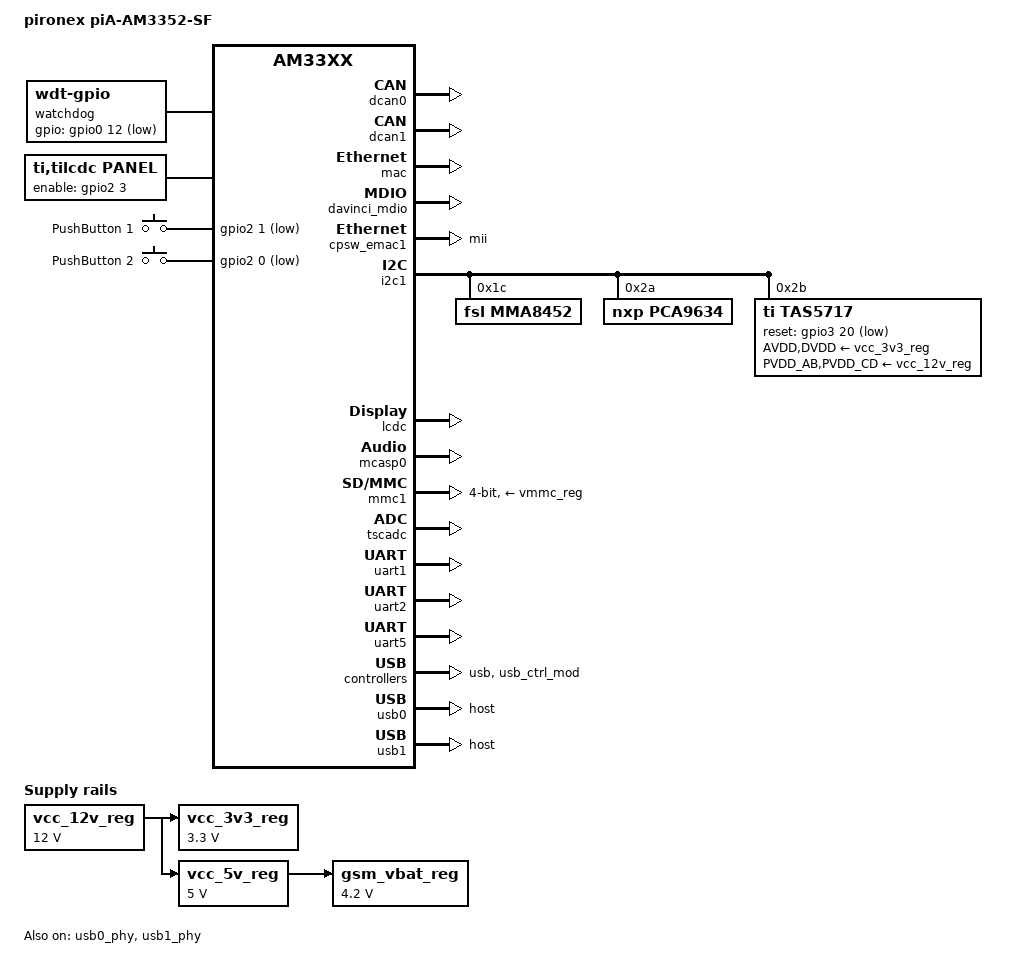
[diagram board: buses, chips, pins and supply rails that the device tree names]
/*
 * Copyright (C) 2015 pironex GmbH (http://www.pironex.de)
 *
 * This program is free software; you can redistribute it and/or modify
 * it under the terms of the GNU General Public License version 2 as
 * published by the Free Software Foundation.
 */

#include "am335x-pia-pm.dtsi"
#include <dt-bindings/interrupt-controller/irq.h>

/ {
	model = "pironex piA-AM3352-SF";
	compatible = "pironex,am335x-pia-sf", "pironex,am335x-pia-pm", "ti,am33xx";

	/* cpus: defined in PM */
	/* memory: defined in PM, TODO different memory configurations */

	vcc_12v_reg: fixedregulator@1 {
		compatible = "regulator-fixed";
		regulator-name = "vcc_12v_reg";
		regulator-min-microvolt = <12000000>;
		regulator-max-microvolt = <12000000>;
		regulator-max-microamp = <2100000>;
		regulator-boot-on;
		regulator-always-on;
	};

	vcc_3v3_reg: fixedregulator@2 {
		compatible = "regulator-fixed";
		regulator-name = "vcc_3v3_reg";
		regulator-min-microvolt = <3300000>;
		regulator-max-microvolt = <3300000>;
		regulator-max-microamp = <2000000>;
		regulator-boot-on;
		regulator-always-on;
		enable-active-high;
		/*gpio = <&gpio2 23 GPIO_ACTIVE_HIGH>; *//* LDO_EN */
		vin-supply = <&vcc_12v_reg>;
	};

	vcc_5v_reg: fixedregulator@3 {
		compatible = "regulator-fixed";
		regulator-name = "vcc_5v_reg";
		regulator-min-microvolt = <5000000>;
		regulator-max-microvolt = <5000000>;
		regulator-max-microamp = <4000000>;
		regulator-boot-on;
		regulator-always-on;
		enable-active-high;
		/*gpio = <&gpio2 23 GPIO_ACTIVE_HIGH>; *//* LDO_EN */
		vin-supply = <&vcc_12v_reg>;
	};

	gsm_vbat_reg: fixedregulator@4 {
		compatible = "regulator-fixed";
		regulator-name = "gsm_vbat_reg";
		regulator-min-microvolt = <4200000>;
		regulator-max-microvolt = <4200000>;
		regulator-max-microamp = <3000000>;
		regulator-boot-on;
		regulator-always-on;
		enable-active-high;
		vin-supply = <&vcc_5v_reg>; /* turned on with vaux2, supplied by vcc_5v0 */
	};

	watchdog: watchdog {
		/* MAX6371 */
		compatible = "linux,wdt-gpio";
		gpios = <&gpio0 12 GPIO_ACTIVE_LOW>;
		hw_algo = "toggle";
		hw_margin_ms = <60000>;
	};

	panel {
		compatible = "ti,tilcdc,panel";
		pinctrl-names = "default", "sleep";
		/*pinctrl-names = "default";*/
		pinctrl-0 = <&lcd_pins_default>;
		pinctrl-1 = <&lcd_pins_sleep>;
		enable-gpios = <&gpio2 3 GPIO_ACTIVE_HIGH>;
		status = "okay";

		panel-info {
			ac-bias           = <255>;
			ac-bias-intrpt    = <0>;
			dma-burst-sz      = <16>;
			bpp               = <32>;
			fdd               = <0x80>;
			sync-edge         = <0>;
			sync-ctrl         = <1>;
			raster-order      = <0>;
			fifo-th           = <0>;
		};

		display-timings {
			native-mode = <&timing1>;
			timing0: 1280x800-30 {
				hactive         = <1280>;
				vactive         = <800>;
				hback-porch     = <50>; /* 39 */
				hfront-porch    = <50>; /* 39 */
				hsync-len       = <60>; /* 47 - total h 160 */
				vback-porch     = <10>; /* 29 */
				vfront-porch    = <10>; /* 13 */
				vsync-len       = <10>; /* 10 */
				clock-frequency = <31000000>;
				hsync-active    = <0>;
				vsync-active    = <0>;
			};
			timing1: 1280x800-60 {
				hactive         = <1280>;
				vactive         = <800>;
				hback-porch     = <50>; /* 39 */
				hfront-porch    = <50>; /* 39 */
				hsync-len       = <60>; /* 47 - total h 160 */
				vback-porch     = <10>; /* 29 */
				vfront-porch    = <10>; /* 13 */
				vsync-len       = <10>; /* 10 */
				clock-frequency = <72000000>;
				hsync-active    = <0>;
				vsync-active    = <0>;
			};
		};
	};

	/* Clock is provided by an external 24.576 MHz OSC connected
	 * to MCASP0_AHCLKX */
	clk_mcasp0_fixed: clk_mcasp0_fixed {
		#clock-cells = <0>;
		compatible = "fixed-clock";
		clock-frequency = <24576000>;
	};

	sound {
		compatible = "simple-audio-card";
		simple-audio-card,name = "PIA-SF";

		simple-audio-card,widgets =  "Speaker", "Speaker Out";
		simple-audio-card,routing =
			"Speaker Out",	"DACL", // OUT_A + OUT_B
			"Speaker Out",	"DACR"; // OUT_C + OUT_D
		simple-audio-card,format = "i2s";
		simple-audio-card,bitclock-master = <&sound_master>;
		simple-audio-card,frame-master = <&sound_master>;

		sound_master: simple-audio-card,cpu {
			sound-dai = <&mcasp0>;
			clocks = <&clk_mcasp0_fixed>;
		};

		simple-audio-card,codec {
			sound-dai = <&tas5717>;
			clocks = <&clk_mcasp0_fixed>;
		};
	};

	buttons: gpio_buttons@0 {
		compatible = "gpio-keys";
		#address-cells = <1>;
		#size-cells = <0>;

		switch@1 {
			label = "PushButton 1";
			linux,code = <0x100>;
			gpios = <&gpio2 1 GPIO_ACTIVE_LOW>;
		};
		switch@2 {
			label = "PushButton 2";
			linux,code = <0x101>;
			gpios = <&gpio2 0 GPIO_ACTIVE_LOW>;
		};
	};
};

&wdt2 {
	// disable CPU internal watchdog driver
	status = "disable";
};

&am33xx_pinmux {
	pinctrl-names = "default";
	pinctrl-0 = <&board_pins>;

	board_pins: pinmux_board_pins {
		pinctrl-single,pins = <
			0x088 (PIN_INPUT_PULLUP | MUX_MODE7)	/* Taster_2: gpmc_csn3.gpio2_0 */
			0x08C (PIN_INPUT_PULLUP | MUX_MODE7)	/* Taster_1: gpmc_clk.gpio2_1 */
			0x090 (PIN_OUTPUT | MUX_MODE7)		/* OUTPUT_2: gpmc_advn_ale.gpio2_2 */
			0x098 (PIN_OUTPUT | MUX_MODE7)		/* OUTPUT_1: gpmc_wen.gpio2_4 */
			0x09C (PIN_INPUT_PULLDOWN | MUX_MODE7)	/* GSM_RESET conf as eMMC reset: gpmc_be0n_cle.gpio2_5 */ 
			0x114 (PIN_INPUT | MUX_MODE7)		/* GSM_STATUS: mii1_txen.gpio3_3 */
			0x138 (PIN_INPUT | MUX_MODE7)		/* Power_Good: mii1_rxd2.gpio2_19 */
			0x178 (PIN_OUTPUT | MUX_MODE7)		/* WDI: uart1_ctsn.gpio0_12 */
			0x19C (PIN_INPUT_PULLUP | MUX_MODE7)	/* UART2.RI: mcasp0_ahclkr.gpio3_17 */
			0x1A0 (PIN_INPUT_PULLDOWN | MUX_MODE7)	/* GSM_PWR_KEY: mcasp0_aclkr.gpio3_18 */
			0x1A4 (PIN_INPUT_PULLDOWN | MUX_MODE7)	/* UART2.DTR: mcasp0_fsr.gpio3_19 */
		>;
	};

	cpsw_default: pinmux_cpsw_default {
		pinctrl-single,pins = <
			/* Slave 2 */
			0x040 (PIN_OUTPUT_PULLDOWN | MUX_MODE1)	/* gpmc_a0.gmii2_txen */
			0x044 (PIN_INPUT_PULLUP | MUX_MODE1)	/* gpmc_a1.mii2_rxdv */
			0x048 (PIN_OUTPUT_PULLDOWN | MUX_MODE1)	/* gpmc_a2.mii2_txd3 */
			0x04c (PIN_OUTPUT_PULLDOWN | MUX_MODE1)	/* gpmc_a3.mii2_txd2 */
			0x050 (PIN_OUTPUT_PULLDOWN | MUX_MODE1)	/* gpmc_a4.mii2_txd1 */
			0x054 (PIN_OUTPUT_PULLDOWN | MUX_MODE1)	/* gpmc_a5.mii2_txd0 */
			0x058 (PIN_INPUT_PULLUP | MUX_MODE1)	/* gpmc_a6.mii2_txclk */
			0x05c (PIN_INPUT_PULLUP | MUX_MODE1)	/* gpmc_a7.mii2_rxclk */
			0x060 (PIN_INPUT_PULLUP | MUX_MODE1)	/* gpmc_a8.mii2_rxd3 */
			0x064 (PIN_INPUT_PULLUP | MUX_MODE1)	/* gpmc_a9.mii2_rxd2 */
			0x068 (PIN_INPUT_PULLUP | MUX_MODE1)	/* gpmc_a10.mii2_rxd1 */
			0x06c (PIN_INPUT_PULLUP | MUX_MODE1)	/* gpmc_a11.mii2_rxd0 */
			0x070 (PIN_INPUT_PULLUP | MUX_MODE1)	/* gpmc_wait0.gmii2_crs */
			0x074 (PIN_INPUT_PULLUP | MUX_MODE1)	/* gpmc_wpn.gmii2_rxerr */
			0x078 (PIN_INPUT_PULLUP | MUX_MODE1)	/* gpmc_be1n.gmii2_col */
		>;
	};

	cpsw_sleep: pinmux_cpsw_sleep {
		pinctrl-single,pins = <
			/* Slave 2 reset value */
			0x040 (PIN_INPUT_PULLDOWN | MUX_MODE7)
			0x044 (PIN_INPUT_PULLDOWN | MUX_MODE7)
			0x048 (PIN_INPUT_PULLDOWN | MUX_MODE7)
			0x04c (PIN_INPUT_PULLDOWN | MUX_MODE7)
			0x050 (PIN_INPUT_PULLDOWN | MUX_MODE7)
			0x054 (PIN_INPUT_PULLDOWN | MUX_MODE7)
			0x058 (PIN_INPUT_PULLDOWN | MUX_MODE7)
			0x05c (PIN_INPUT_PULLDOWN | MUX_MODE7)
			0x060 (PIN_INPUT_PULLDOWN | MUX_MODE7)
			0x064 (PIN_INPUT_PULLDOWN | MUX_MODE7)
			0x068 (PIN_INPUT_PULLDOWN | MUX_MODE7)
			0x06c (PIN_INPUT_PULLDOWN | MUX_MODE7)
			0x070 (PIN_INPUT_PULLDOWN | MUX_MODE7)
			0x074 (PIN_INPUT_PULLDOWN | MUX_MODE7)
			0x078 (PIN_INPUT_PULLDOWN | MUX_MODE7)
		>;
	};

	lcd_pins_default: lcd_pins_default {
		pinctrl-single,pins = <
			0x94 (PIN_OUTPUT_PULLDOWN | MUX_MODE7)	/* gpmc_oen_ren.gpio2_3 */
			0x20 (PIN_OUTPUT | MUX_MODE1)	/* gpmc_ad8.lcd_data23 */
			0x24 (PIN_OUTPUT | MUX_MODE1)	/* gpmc_ad9.lcd_data22 */
			0x28 (PIN_OUTPUT | MUX_MODE1)	/* gpmc_ad10.lcd_data21 */
			0x2c (PIN_OUTPUT | MUX_MODE1)	/* gpmc_ad11.lcd_data20 */
			0x30 (PIN_OUTPUT | MUX_MODE1)	/* gpmc_ad12.lcd_data19 */
			0x34 (PIN_OUTPUT | MUX_MODE1)	/* gpmc_ad13.lcd_data18 */
			0x38 (PIN_OUTPUT | MUX_MODE1)	/* gpmc_ad14.lcd_data17 */
			0x3c (PIN_OUTPUT | MUX_MODE1)	/* gpmc_ad15.lcd_data16 */
			0xa0 (PIN_OUTPUT | MUX_MODE0)	/* lcd_data0.lcd_data0 */
			0xa4 (PIN_OUTPUT | MUX_MODE0)	/* lcd_data1.lcd_data1 */
			0xa8 (PIN_OUTPUT | MUX_MODE0)	/* lcd_data2.lcd_data2 */
			0xac (PIN_OUTPUT | MUX_MODE0)	/* lcd_data3.lcd_data3 */
			0xb0 (PIN_OUTPUT | MUX_MODE0)	/* lcd_data4.lcd_data4 */
			0xb4 (PIN_OUTPUT | MUX_MODE0)	/* lcd_data5.lcd_data5 */
			0xb8 (PIN_OUTPUT | MUX_MODE0)	/* lcd_data6.lcd_data6 */
			0xbc (PIN_OUTPUT | MUX_MODE0)	/* lcd_data7.lcd_data7 */
			0xc0 (PIN_OUTPUT | MUX_MODE0)	/* lcd_data8.lcd_data8 */
			0xc4 (PIN_OUTPUT | MUX_MODE0)	/* lcd_data9.lcd_data9 */
			0xc8 (PIN_OUTPUT | MUX_MODE0)	/* lcd_data10.lcd_data10 */
			0xcc (PIN_OUTPUT | MUX_MODE0)	/* lcd_data11.lcd_data11 */
			0xd0 (PIN_OUTPUT | MUX_MODE0)	/* lcd_data12.lcd_data12 */
			0xd4 (PIN_OUTPUT | MUX_MODE0)	/* lcd_data13.lcd_data13 */
			0xd8 (PIN_OUTPUT | MUX_MODE0)	/* lcd_data14.lcd_data14 */
			0xdc (PIN_OUTPUT | MUX_MODE0)	/* lcd_data15.lcd_data15 */
			0xe0 (PIN_OUTPUT | MUX_MODE0)	/* lcd_vsync.lcd_vsync */
			0xe4 (PIN_OUTPUT | MUX_MODE0)	/* lcd_hsync.lcd_hsync */
			0xe8 (PIN_OUTPUT | MUX_MODE0)	/* lcd_pclk.lcd_pclk */
			0xec (PIN_OUTPUT | MUX_MODE0)	/* lcd_ac_bias_en.lcd_ac_bias_en */
		>;
	};

	lcd_pins_sleep: lcd_pins_sleep {
		pinctrl-single,pins = <
			0x94 (PIN_INPUT_PULLDOWN | MUX_MODE7)	/* gpmc_oen_ren.gpio2_3 */
			0x20 (PIN_INPUT_PULLDOWN | MUX_MODE7)	/* gpmc_ad8.lcd_data23 */
			0x24 (PIN_INPUT_PULLDOWN | MUX_MODE7)	/* gpmc_ad9.lcd_data22 */
			0x28 (PIN_INPUT_PULLDOWN | MUX_MODE7)	/* gpmc_ad10.lcd_data21 */
			0x2c (PIN_INPUT_PULLDOWN | MUX_MODE7)	/* gpmc_ad11.lcd_data20 */
			0x30 (PIN_INPUT_PULLDOWN | MUX_MODE7)	/* gpmc_ad12.lcd_data19 */
			0x34 (PIN_INPUT_PULLDOWN | MUX_MODE7)	/* gpmc_ad13.lcd_data18 */
			0x38 (PIN_INPUT_PULLDOWN | MUX_MODE7)	/* gpmc_ad14.lcd_data17 */
			0x3c (PIN_INPUT_PULLDOWN | MUX_MODE7)	/* gpmc_ad15.lcd_data16 */
			0xa0 (PIN_INPUT_PULLDOWN | MUX_MODE7)	/* lcd_data0.lcd_data0 */
			0xa4 (PIN_INPUT_PULLDOWN | MUX_MODE7)	/* lcd_data1.lcd_data1 */
			0xa8 (PIN_INPUT_PULLDOWN | MUX_MODE7)	/* lcd_data2.lcd_data2 */
			0xac (PIN_INPUT_PULLDOWN | MUX_MODE7)	/* lcd_data3.lcd_data3 */
			0xb0 (PIN_INPUT_PULLDOWN | MUX_MODE7)	/* lcd_data4.lcd_data4 */
			0xb4 (PIN_INPUT_PULLDOWN | MUX_MODE7)	/* lcd_data5.lcd_data5 */
			0xb8 (PIN_INPUT_PULLDOWN | MUX_MODE7)	/* lcd_data6.lcd_data6 */
			0xbc (PIN_INPUT_PULLDOWN | MUX_MODE7)	/* lcd_data7.lcd_data7 */
			0xc0 (PIN_INPUT_PULLDOWN | MUX_MODE7)	/* lcd_data8.lcd_data8 */
			0xc4 (PIN_INPUT_PULLDOWN | MUX_MODE7)	/* lcd_data9.lcd_data9 */
			0xc8 (PIN_INPUT_PULLDOWN | MUX_MODE7)	/* lcd_data10.lcd_data10 */
			0xcc (PIN_INPUT_PULLDOWN | MUX_MODE7)	/* lcd_data11.lcd_data11 */
			0xd0 (PIN_INPUT_PULLDOWN | MUX_MODE7)	/* lcd_data12.lcd_data12 */
			0xd4 (PIN_INPUT_PULLDOWN | MUX_MODE7)	/* lcd_data13.lcd_data13 */
			0xd8 (PIN_INPUT_PULLDOWN | MUX_MODE7)	/* lcd_data14.lcd_data14 */
			0xdc (PIN_INPUT_PULLDOWN | MUX_MODE7)	/* lcd_data15.lcd_data15 */
			0xe0 (PIN_INPUT_PULLDOWN | MUX_MODE7)	/* lcd_vsync.lcd_vsync */
			0xe4 (PIN_INPUT_PULLDOWN | MUX_MODE7)	/* lcd_hsync.lcd_hsync */
			0xe8 (PIN_INPUT_PULLDOWN | MUX_MODE7)	/* lcd_pclk.lcd_pclk */
			0xec (PIN_INPUT_PULLDOWN | MUX_MODE7)	/* lcd_ac_bias_en.lcd_ac_bias_en */
		>;
	};

	davinci_mdio_default: pinmux_mdio_default {
		pinctrl-single,pins = <
			/* MDIO */
			0x148 (PIN_INPUT_PULLUP | SLEWCTRL_FAST | MUX_MODE0)	/* mdio_data.mdio_data */
			0x14c (PIN_OUTPUT_PULLUP | MUX_MODE0)			/* mdio_clk.mdio_clk */
		>;
	};

	davinci_mdio_sleep: pinmux_mdio_sleep {
		pinctrl-single,pins = <
			/* MDIO reset value */
			0x148 (PIN_INPUT_PULLDOWN | MUX_MODE7)
			0x14c (PIN_INPUT_PULLDOWN | MUX_MODE7)
		>;
	};

	dcan0_pins: pinmux_dcan0_pins {
		pinctrl-single,pins = <
			0x11C (PIN_OUTPUT | MUX_MODE1)	/* mii1_txd3.dcan0_tx */
			0x120 (PIN_INPUT | MUX_MODE1)	/* mii1_txd2.dcan0_rx */
		>;
	};

	dcan1_pins: pinmux_dcan1_pins {
		pinctrl-single,pins = <
			0x168 (PIN_OUTPUT | MUX_MODE2)	/* uart1_rxd.dcan1_tx */
			0x16C (PIN_INPUT  | MUX_MODE2)	/* uart1_txd.dcan1_rx */
		>;
	};

	mcasp0_pins: pinmux_mcasp0_pins {
		pinctrl-single,pins = <
			0x1ac (PIN_INPUT_PULLUP | MUX_MODE0)	/* I2S.MCLK: mcasp0_ahclkx.mcasp0_ahclkx */
			0x190 (PIN_INPUT_PULLDOWN | MUX_MODE0)	/* I2S.SCK: mcasp0_aclkx.mcasp0_aclkx */
			0x194 (PIN_INPUT_PULLDOWN | MUX_MODE0)	/* I2S.LRCLK: mcasp0_fsx.mcasp0_fsx */
			0x198 (PIN_OUTPUT_PULLDOWN | MUX_MODE0)	/* I2S.SD: mcasp0_axr0.mcasp0_axr0 */
			0x1A8 (PIN_INPUT_PULLUP | MUX_MODE7)	/* AUDIO-NRESET: mcasp0_axr1.gpio3_20 */
		>;
	};

	mmc1_pins: pinmux_mmc1_pins {
		pinctrl-single,pins = <
			0x0f0 (PIN_INPUT_PULLUP | MUX_MODE0)	/* mmc0_dat0.mmc0_dat0 */
			0x0f4 (PIN_INPUT_PULLUP | MUX_MODE0)	/* mmc0_dat1.mmc0_dat1 */
			0x0f8 (PIN_INPUT_PULLUP | MUX_MODE0)	/* mmc0_dat2.mmc0_dat2 */
			0x0fc (PIN_INPUT_PULLUP | MUX_MODE0)	/* mmc0_dat3.mmc0_dat3 */
			0x100 (PIN_INPUT_PULLUP | MUX_MODE0)	/* mmc0_clk.mmc0_clk */
			0x104 (PIN_INPUT_PULLUP | MUX_MODE0)	/* mmc0_cmd.mmc0_cmd */
		>;
	};
	
	uart1_pins: pinmux_uart1_pins {
		pinctrl-single,pins = <
			0x128 (PIN_OUTPUT | MUX_MODE7)		/* RS485_RES:  mii1_txd0.gpio0_28 */
			0x17C (PIN_OUTPUT | MUX_MODE7)		/* UART1.RTSn: uart1_rtsn.gpio0_13 */
			0x180 (PIN_INPUT_PULLUP | MUX_MODE0)	/* UART1.RXD:  uart1_rxd.uart1_rxd */
			0x184 (PIN_OUTPUT | MUX_MODE0)		/* UART1.TXD:  uart1_txd.uart1_txd */
		>;
	};

	uart2_pins: pinmux_uart2_pins {
		pinctrl-single,pins = <
			0x12C (PIN_INPUT_PULLUP | MUX_MODE1)	/* mii1_txclk.uart2_rxd */
			0x130 (PIN_OUTPUT_PULLDOWN | MUX_MODE1)	/* mii1_rxclk.uart2_txd */
		>;
	};

	uart5_pins: pinmux_uart5_pins {
		pinctrl-single,pins = <
			0x108 (PIN_INPUT_PULLUP | MUX_MODE3)	/* mii1_col.uart5_rxd */
			0x144 (PIN_OUTPUT_PULLDOWN | MUX_MODE3)	/* rmii1_refclk.uart5_txd */
		>;
	};

	usb0_pins: pinmux_usb0_pins {
		pinctrl-single,pins = <
			0x21c (PIN_OUTPUT | MUX_MODE0)	/* usb0_drvvbus.usb0_drvvbus */
		>;
	};

	usb1_pins: pinmux_usb1_pins {
		pinctrl-single,pins = <
			0x234 (PIN_OUTPUT | MUX_MODE0)	/* usb1_drvvbus.usb1_drvvbus */
		>;
	};
};

&dcan0 {
	pinctrl-names = "default";
	pinctrl-0 = <&dcan0_pins>;

	status = "okay";
};

&dcan1 {
	pinctrl-names = "default";
	pinctrl-0 = <&dcan1_pins>;

	status = "okay";
};

&mac {
	pinctrl-names = "default", "sleep";
	pinctrl-0 = <&cpsw_default>;
	pinctrl-1 = <&cpsw_sleep>;
	active_slave = <1>; /* only MII2 connected */

	status = "okay";
};

&davinci_mdio {
	pinctrl-names = "default", "sleep";
	pinctrl-0 = <&davinci_mdio_default>;
	pinctrl-1 = <&davinci_mdio_sleep>;

	status = "okay";
};

&cpsw_emac1 {
	phy_id = <&davinci_mdio>, <0>;
	phy-mode = "mii";
};

&i2c1 {
	mma8452@1C {
		compatible = "fsl,mma8452";
		reg = <0x1C>;
	};
	pca9634: pca9634@2A {
		compatible = "nxp,pca9634";
		#address-cells = <1>;
		#size-cells = <0>;
		reg = <0x2A>;

		led@0 {
			label = "led:led1";
			reg = <0>;
			linux,default-trigger = "none";
		};
		led@1 {
			label = "led:led2";
			reg = <1>;
			linux,default-trigger = "none";
		};
		led@2 {
			label = "led:power_led_dual1";
			reg = <2>;
			linux,default-trigger = "none";
		};
		led@3 {
			label = "led:power_led_dual2";
			reg = <3>;
			linux,default-trigger = "none";
		};
		backlightled: backlight@4 {
			label = "lcd:led_pwm";
			reg = <4>;
			linux,default-trigger = "backlight";
		};
		canres@5 {
			label = "can0_res";
			reg = <5>;
			linux,default-trigger = "default-on";
		};
		canres@6 {
			label = "can1_res";
			reg = <6>;
			linux,default-trigger = "default-on";
		};
		led7: nc@7 {
			label = "unused";
			reg = <7>;
			linux,default-trigger = "none";
		};
	};

	tas5717: audio-codec@2b {
		compatible = "ti,tas5717";
		reg = <0x2b>;
		#sound-dai-cells = <0>;

		reset-gpios = <&gpio3 20 GPIO_ACTIVE_LOW>;
		clocks = <&clk_mcasp0_fixed>;
		clock-names = "mclk";

		AVDD-supply = <&vcc_3v3_reg>;
		DVDD-supply = <&vcc_3v3_reg>;
		PVDD_AB-supply = <&vcc_12v_reg>;
		PVDD_CD-supply = <&vcc_12v_reg>;
	};
};

&lcdc {
	blue-and-red-wiring = "crossed";
	status = "okay";
};

&mcasp0 {
	#sound-dai-cells = <0>;
	pinctrl-names = "default";
	pinctrl-0 = <&mcasp0_pins>;
	/*pinctrl-1 = <&mcasp1_pins_sleep>;*/

	status = "okay";

	op-mode = <0>;          /* MCASP_IIS_MODE */
	tdm-slots = <2>;
	/* 4 serializers */
	serial-dir = <  /* 0: INACTIVE, 1: TX, 2: RX */
		/*0 0 1 2*/
		1 0 0 0
	>;
	tx-num-evt = <32>;
	rx-num-evt = <32>;
};

/* uSD */
&mmc1 {
	vmmc-supply = <&vmmc_reg>;
	bus-width = <4>; /* 4 data lines */
	pinctrl-names = "default";
	pinctrl-0 = <&mmc1_pins>;

	status = "okay";
};

&tscadc {
	status = "okay";

	/*tsc { };*/
	adc {
		ti,adc-channels = <6>; /* thermistor */
		ti,chan-step-avg = <16>;
	};
};

/* RS485 */
&uart1 {
	pinctrl-names = "default";
	pinctrl-0 = <&uart1_pins>;

	rts-gpio = <&gpio0 13 GPIO_ACTIVE_HIGH>;
	rs485-rts-active-high;
	rs485-rts-delay = <1 0>;
	linux,rs485-enabled-at-boot-time;

	status = "okay";
};

/* SIMCOM GSM AT */
&uart2 {
	pinctrl-names = "default";
	pinctrl-0 = <&uart2_pins>;

	status = "okay";
};

/* SP1ML-868 Radio */
&uart5 {
	pinctrl-names = "default";
	pinctrl-0 = <&uart5_pins>;

	status = "okay";
};

&usb {
	status = "okay";
};

&usb_ctrl_mod {
	status = "okay";
};

&usb0_phy {
	pinctrl-names = "default";
	pinctrl-0 = <&usb0_pins>;

	status = "okay";
};

&usb1_phy {
	pinctrl-names = "default";
	pinctrl-0 = <&usb1_pins>;

	status = "okay";
};

&usb0 {
	status = "okay";
	dr_mode = "host";
};

&usb1 {
	status = "okay";
	dr_mode = "host";
};

&cppi41dma  {
	status = "okay";
};
